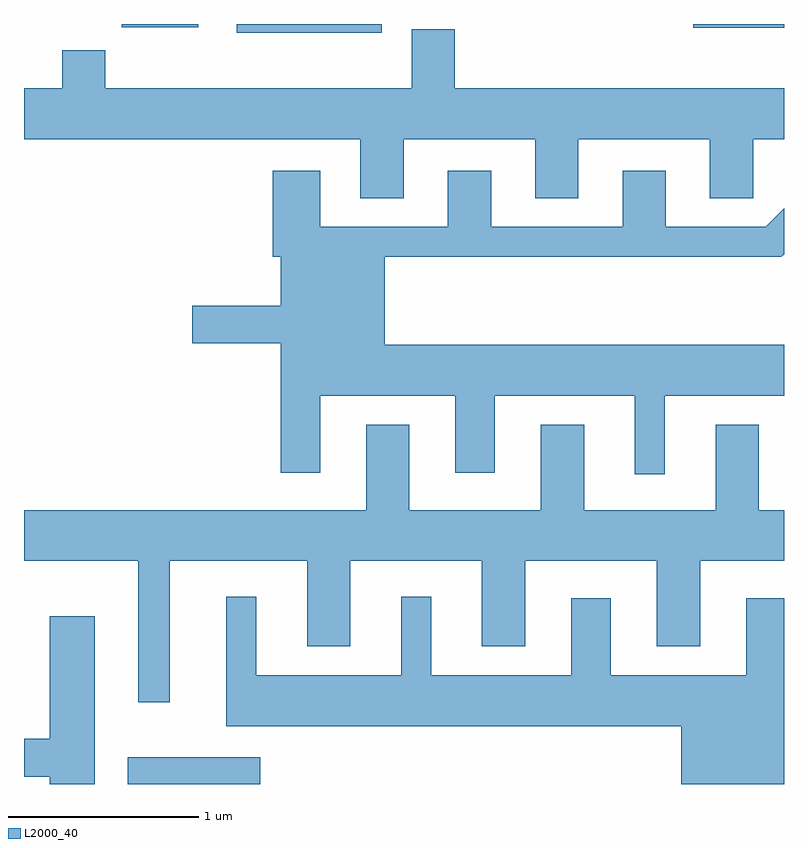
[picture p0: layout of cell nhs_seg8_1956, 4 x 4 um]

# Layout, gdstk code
import gdstk
lib = gdstk.Library(unit=1e-6, precision=1e-09)
def R(c, l, rs):  # rectangles x0, y0, x1, y1
    for r in rs: c.add(gdstk.rectangle(r[:2], r[2:], *l))
def P(c, l, *ps):  # polygons
    for p in ps: c.add(gdstk.Polygon(p, *l))
L2000_40 = (2000, 40)

nhs_seg8_1956 = lib.new_cell('nhs_seg8_1956')
R(nhs_seg8_1956, L2000_40, [(244.156,1846.342,244.854,1846.484), (244.731,1850.296,245.494,1850.342), (247.133,1850.321,247.611,1850.342), (244.126,1850.326,244.529,1850.342)])
P(nhs_seg8_1956, L2000_40, [(245.609,1849.736),(246.301,1849.736),(246.301,1849.426),(246.529,1849.426),(246.529,1849.736),(247.221,1849.736),(247.221,1849.426),(247.449,1849.426),(247.449,1849.736),(247.611,1849.736),(247.611,1850.004),(245.879,1850.004),(245.879,1850.314),(245.651,1850.314),(245.651,1850.004),(244.039,1850.004),(244.039,1850.204),(243.811,1850.204),(243.811,1850.004),(243.611,1850.004),(243.611,1849.736),(245.381,1849.736),(245.381,1849.426),(245.609,1849.426)],
  [(246.984,1848.386),(247.611,1848.386),(247.611,1848.654),(245.509,1848.654),(245.509,1849.116),(247.597,1849.116),(247.611,1849.13),(247.611,1849.371),(247.514,1849.274),(246.989,1849.274),(246.989,1849.569),(246.761,1849.569),(246.761,1849.274),(246.069,1849.274),(246.069,1849.569),(245.841,1849.569),(245.841,1849.274),(245.169,1849.274),(245.169,1849.569),(244.921,1849.569),(244.921,1849.116),(244.961,1849.116),(244.961,1848.859),(244.496,1848.859),(244.496,1848.661),(244.961,1848.661),(244.961,1847.981),(245.169,1847.981),(245.169,1848.386),(245.881,1848.386),(245.881,1847.981),(246.089,1847.981),(246.089,1848.386),(246.826,1848.386),(246.826,1847.973),(246.984,1847.973)],
  [(244.379,1847.516),(245.101,1847.516),(245.101,1847.066),(245.329,1847.066),(245.329,1847.516),(246.021,1847.516),(246.021,1847.066),(246.249,1847.066),(246.249,1847.516),(246.941,1847.516),(246.941,1847.066),(247.169,1847.066),(247.169,1847.516),(247.611,1847.516),(247.611,1847.784),(247.479,1847.784),(247.479,1848.234),(247.251,1848.234),(247.251,1847.784),(246.559,1847.784),(246.559,1848.234),(246.331,1848.234),(246.331,1847.784),(245.639,1847.784),(245.639,1848.234),(245.411,1848.234),(245.411,1847.784),(243.611,1847.784),(243.611,1847.516),(244.211,1847.516),(244.211,1846.773),(244.379,1846.773)],
  [(247.611,1847.319),(247.411,1847.319),(247.411,1846.914),(246.699,1846.914),(246.699,1847.319),(246.491,1847.319),(246.491,1846.914),(245.754,1846.914),(245.754,1847.328),(245.596,1847.328),(245.596,1846.914),(244.834,1846.914),(244.834,1847.328),(244.676,1847.328),(244.676,1846.646),(247.071,1846.646),(247.071,1846.342),(247.611,1846.342)],
  [(243.984,1847.224),(243.746,1847.224),(243.746,1846.579),(243.611,1846.579),(243.611,1846.381),(243.746,1846.381),(243.746,1846.342),(243.984,1846.342)])

lib.write_gds('nhs_seg8_1956.gds')
